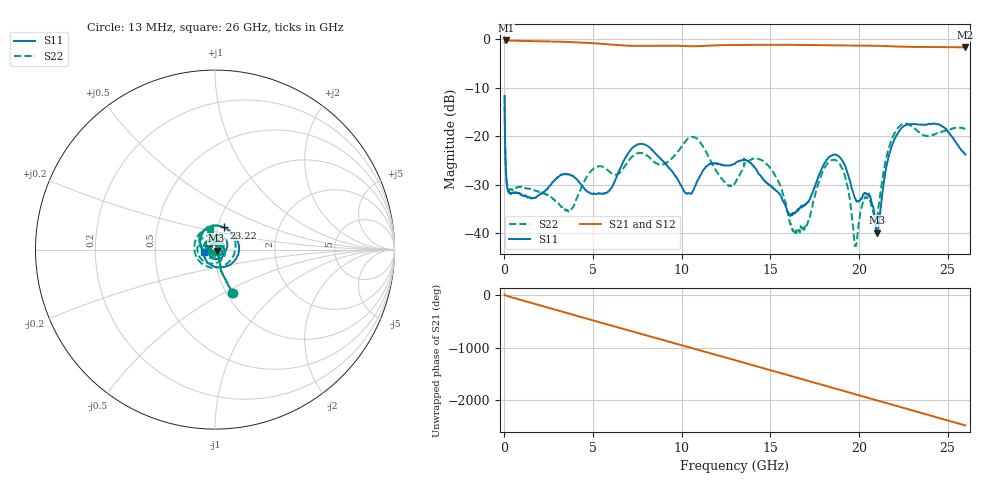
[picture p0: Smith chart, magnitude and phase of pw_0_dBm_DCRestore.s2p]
! File created by SignalIntegrity v1.1.8: Signal and Power Integrity Tools
! https://github.com/TeledyneLeCroy/SignalIntegrity
# MHz MA S R 50.0
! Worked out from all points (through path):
!   2000 points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, 13 MHz to 26 GHz, reference 50 ohm
!   highest |S21| = -0.22 dB at 78 MHz (marker M1); lowest = -1.6 dB at 26 GHz (marker M2)
!   group delay of S21, straight-line fit = 265 ps
!   lowest |S11| = -39.8 dB at 21.01 GHz (marker M3), VSWR 1.02, Z = 50.9 - j0.566 ohm
!   |S11| at or under -10 dB: start of sweep to end of sweep
!   |S22| runs from -42.6 to -11.6 dB; largest |S21 - S12| = 0.00094
!   S11 on the Smith chart (normalised r, x): 13 MHz: 1.06, -0.56; 23.22 GHz: 1.07, +0.27; 26 GHz: 0.88, -0.02
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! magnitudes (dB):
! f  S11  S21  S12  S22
! 13 MHz  -11.6  -0.6  -0.6  -11.6
! 78 MHz  -26.5  -0.2  -0.2  -26.2
! 338 MHz  -31.8  -0.2  -0.2  -31.0
! 3.588 GHz  -27.9  -0.5  -0.5  -35.4
! 4.355 GHz  -30.0  -0.6  -0.6  -30.4
! 5.811 GHz  -31.6  -1.0  -1.0  -26.9
! 7.514 GHz  -21.7  -1.3  -1.3  -23.5
! 8.684 GHz  -24.2  -1.3  -1.3  -25.7
! 10.7 GHz  -30.7  -1.4  -1.4  -20.1
! 13.01 GHz  -25.5  -1.2  -1.2  -29.6
! 14.35 GHz  -27.8  -1.1  -1.1  -24.7
! 15.48 GHz  -31.7  -1.1  -1.1  -29.5
! 16.32 GHz  -35.9  -1.1  -1.1  -39.5
! 17.34 GHz  -31.8  -1.2  -1.2  -35.0
! 18.59 GHz  -23.8  -1.2  -1.2  -24.8
! 19.25 GHz  -26.4  -1.3  -1.3  -28.7
! 19.8 GHz  -32.9  -1.3  -1.3  -42.6
! 20.34 GHz  -31.7  -1.3  -1.3  -32.5
! 21.01 GHz  -39.8  -1.3  -1.3  -37.4
! 21.67 GHz  -24.1  -1.4  -1.4  -22.6
! 23.22 GHz  -17.5  -1.6  -1.6  -18.6
! 26 GHz  -23.7  -1.6  -1.6  -18.4
